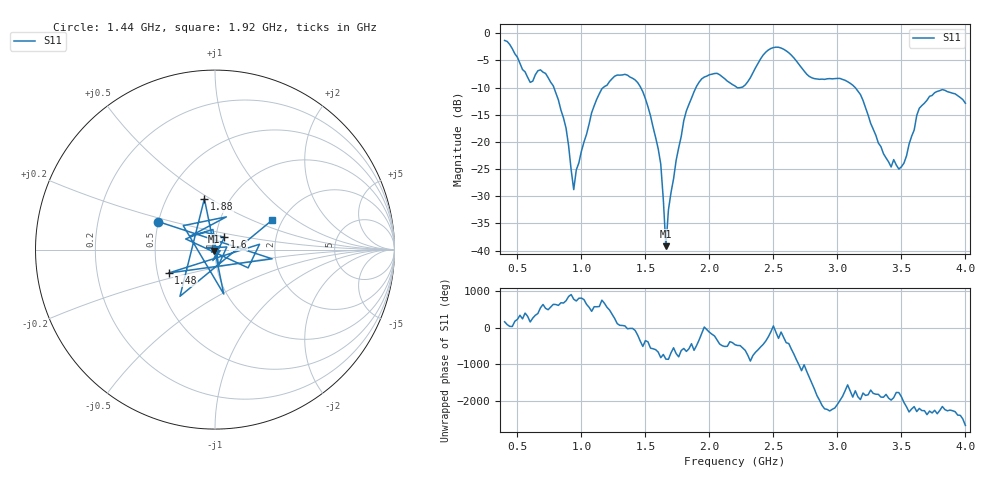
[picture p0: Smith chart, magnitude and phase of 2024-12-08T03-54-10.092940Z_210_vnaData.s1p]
!Created with skrf (http://scikit-rf.org).
# Hz S RI R 50.0
!freq ReS11 ImS11
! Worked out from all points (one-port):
!   181 points, 400 MHz to 4 GHz, reference 50 ohm
!   lowest |S11| = -39.2 dB at 1.66 GHz (marker M1), VSWR 1.02, Z = 49.2 - j0.701 ohm
!   |S11| at or under -10 dB: 785.2 MHz to 1.171 GHz (385.3 MHz wide, 39.4 % of centre); 1.464 GHz to 1.895 GHz (431.5 MHz wide, 25.7 % of centre); 3.139 GHz to end of sweep (the widest 3 of 4)
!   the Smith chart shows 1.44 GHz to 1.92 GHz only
!   S11 on the Smith chart (normalised r, x): 1.44 GHz: 0.50, +0.18; 1.48 GHz: 0.57, -0.16; 1.6 GHz: 1.10, +0.15; 1.88 GHz: 0.76, +0.47; 1.92 GHz: 1.77, +0.66
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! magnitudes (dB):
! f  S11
! 400 MHz  -1.3
! 600 MHz  -9.0
! 720 MHz  -7.4
! 860 MHz  -15.6
! 940 MHz  -28.8
! 1.12 GHz  -12.1
! 1.3 GHz  -7.7
! 1.44 GHz  -9.1
! 1.48 GHz  -10.8
! 1.6 GHz  -21.3
! 1.62 GHz  -24.1
! 1.66 GHz  -39.2
! 1.68 GHz  -32.5
! 1.76 GHz  -21.1
! 1.88 GHz  -10.8
! 1.92 GHz  -9.0
! 2.06 GHz  -7.4
! 2.2 GHz  -9.7
! 2.48 GHz  -2.8
! 2.66 GHz  -4.5
! 2.8 GHz  -8.2
! 3.1 GHz  -9.2
! 3.42 GHz  -24.6
! 3.5 GHz  -24.6
! 3.56 GHz  -20.4
! 3.64 GHz  -13.8
! 3.72 GHz  -11.6
! 4 GHz  -12.9
